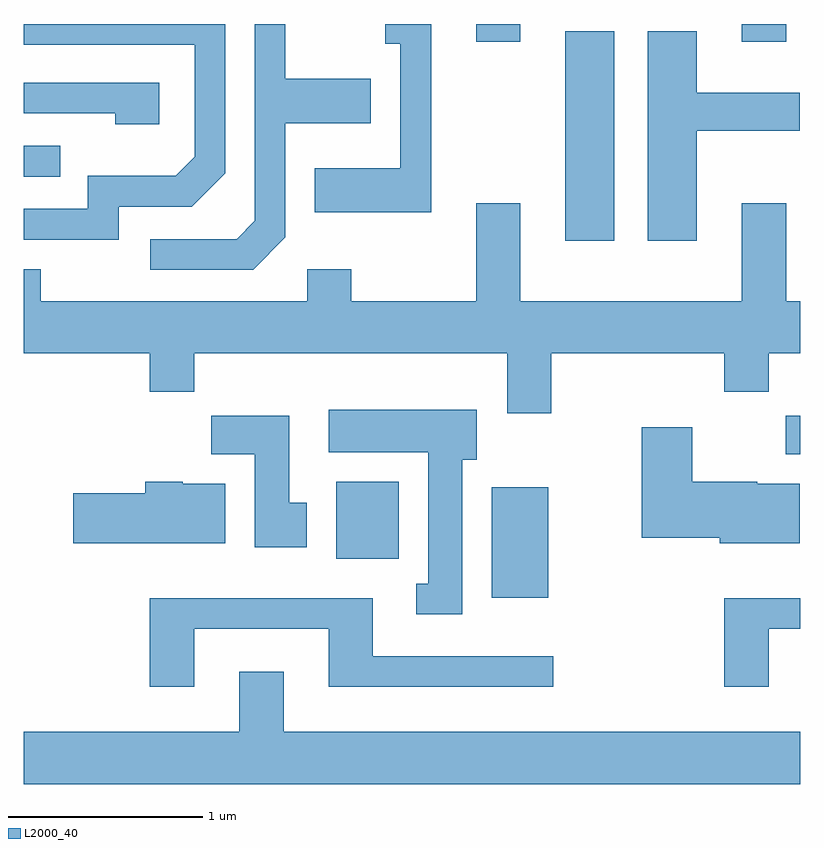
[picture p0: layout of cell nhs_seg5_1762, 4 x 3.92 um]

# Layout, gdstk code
import gdstk
lib = gdstk.Library(unit=1e-6, precision=1e-09)
def R(c, l, rs):  # rectangles x0, y0, x1, y1
    for r in rs: c.add(gdstk.rectangle(r[:2], r[2:], *l))
def P(c, l, *ps):  # polygons
    for p in ps: c.add(gdstk.Polygon(p, *l))
L2000_40 = (2000, 40)

nhs_seg5_1762 = lib.new_cell('nhs_seg5_1762')
R(nhs_seg5_1762, L2000_40, [(240.021,1431.116,240.314,1431.684), (239.221,1431.316,239.544,1431.714), (241.536,1431.856,241.611,1432.054), (240.401,1432.956,240.654,1434.034), (237.611,1433.286,237.798,1433.444), (239.941,1433.981,240.169,1434.072), (241.311,1433.981,241.539,1434.072)])
P(nhs_seg5_1762, L2000_40, [(238.099,1433.131),(238.477,1433.131),(238.649,1433.304),(238.649,1434.072),(237.611,1434.072),(237.611,1433.966),(238.491,1433.966),(238.491,1433.387),(238.394,1433.289),(237.941,1433.289),(237.941,1433.119),(237.611,1433.119),(237.611,1432.961),(238.099,1432.961)],
  [(238.959,1432.974),(238.959,1433.561),(239.399,1433.561),(239.399,1433.789),(238.959,1433.789),(238.959,1434.072),(238.801,1434.072),(238.801,1433.057),(238.709,1432.964),(238.263,1432.964),(238.263,1432.806),(238.792,1432.806)],
  [(239.709,1434.072),(239.473,1434.072),(239.473,1433.971),(239.551,1433.971),(239.551,1433.329),(239.111,1433.329),(239.111,1433.101),(239.709,1433.101)],
  [(241.079,1433.521),(241.609,1433.521),(241.609,1433.719),(241.079,1433.719),(241.079,1434.034),(240.826,1434.034),(240.826,1432.956),(241.079,1432.956)],
  [(238.309,1433.769),(237.611,1433.769),(237.611,1433.611),(238.081,1433.611),(238.081,1433.556),(238.309,1433.556)],
  [(240.329,1432.376),(241.221,1432.376),(241.221,1432.176),(241.449,1432.176),(241.449,1432.376),(241.611,1432.376),(241.611,1432.644),(241.539,1432.644),(241.539,1433.149),(241.311,1433.149),(241.311,1432.644),(240.169,1432.644),(240.169,1433.149),(239.941,1433.149),(239.941,1432.644),(239.299,1432.644),(239.299,1432.809),(239.071,1432.809),(239.071,1432.644),(237.699,1432.644),(237.699,1432.809),(237.611,1432.809),(237.611,1432.376),(238.261,1432.376),(238.261,1432.176),(238.489,1432.176),(238.489,1432.376),(240.101,1432.376),(240.101,1432.066),(240.329,1432.066)],
  [(239.869,1431.826),(239.944,1431.826),(239.944,1432.084),(239.181,1432.084),(239.181,1431.866),(239.696,1431.866),(239.696,1431.189),(239.633,1431.189),(239.633,1431.031),(239.869,1431.031)],
  [(239.069,1431.604),(238.979,1431.604),(238.979,1432.054),(238.576,1432.054),(238.576,1431.856),(238.801,1431.856),(238.801,1431.376),(239.069,1431.376)],
  [(241.609,1431.704),(241.39,1431.704),(241.39,1431.714),(241.054,1431.714),(241.054,1431.994),(240.796,1431.994),(240.796,1431.426),(241.196,1431.426),(241.196,1431.396),(241.609,1431.396)],
  [(238.649,1431.704),(238.43,1431.704),(238.43,1431.714),(238.236,1431.714),(238.236,1431.654),(237.866,1431.654),(237.866,1431.396),(238.649,1431.396)],
  [(238.489,1430.956),(239.181,1430.956),(239.181,1430.656),(240.338,1430.656),(240.338,1430.814),(239.409,1430.814),(239.409,1431.114),(238.261,1431.114),(238.261,1430.656),(238.489,1430.656)],
  [(241.449,1430.956),(241.611,1430.956),(241.611,1431.114),(241.221,1431.114),(241.221,1430.656),(241.449,1430.656)],
  [(241.611,1430.424),(238.949,1430.424),(238.949,1430.734),(238.721,1430.734),(238.721,1430.424),(237.611,1430.424),(237.611,1430.156),(241.611,1430.156)])

lib.write_gds('nhs_seg5_1762.gds')
